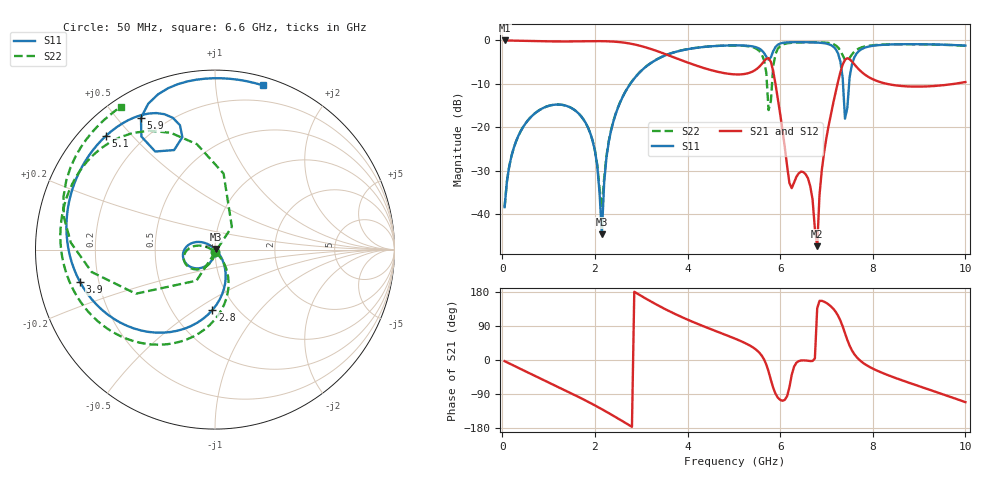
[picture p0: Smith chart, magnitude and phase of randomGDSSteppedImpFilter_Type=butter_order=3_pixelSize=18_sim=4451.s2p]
! freq	dB(S11)	phase(S11)	dB(S12)	phase(S12)
!  dB(S21)	phase(S21)	dB(S22)	phase(S22)
!S-par simulation data
#  GHz  S  DB  R 50
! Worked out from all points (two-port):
!   200 points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, 50 MHz to 10 GHz, reference 50 ohm
!   highest |S21| = -0.01 dB at 50 MHz (marker M1); lowest = -47.3 dB at 6.8 GHz (marker M2)
!   |S21| within 3 dB of the highest: start of sweep to 3.486 GHz
!   lowest |S11| = -44.6 dB at 2.15 GHz (marker M3), VSWR 1.01, Z = 50.5 + j0.305 ohm
!   |S11| at or under -10 dB: start of sweep to 2.764 GHz; 7.358 GHz to 7.489 GHz (131.6 MHz wide, 1.77 % of centre)
!   |S22| runs from -38.6 to -0.4 dB; largest |S21 - S12| = 0
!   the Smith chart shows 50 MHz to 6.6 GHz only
!   S11 on the Smith chart (normalised r, x): 50 MHz: 1.00, -0.02; 2.8 GHz: 0.78, -0.59; 3.9 GHz: 0.13, -0.12; 5.1 GHz: 0.08, +0.43; 5.9 GHz: 0.11, +0.58; 6.6 GHz: 0.07, +1.33
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0.05  -38.34 -92.2  -0.01 -3.0  -0.01 -3.0  -38.36 -92.2
0.6  -17.81 -127.5  -0.12 -35.7  -0.12 -35.7  -17.81 -124.7
1.75  -18.12 161.3  -0.20 -103.8  -0.20 -103.8  -18.12 172.0
2.15  -44.63 30.9  -0.17 -129.8  -0.17 -129.8  -38.64 -114.1
2.3  -23.29 -53.8  -0.21 -140.2  -0.21 -140.2  -23.10 -55.8
2.8  -9.45 -92.4  -0.81 -176.4  -0.81 -176.4  -9.41 -83.9
3.4  -4.01 -135.8  -2.67 141.7  -2.67 141.7  -3.99 -123.1
3.9  -2.23 -166.6  -4.68 111.9  -4.68 111.9  -2.21 -151.1
5.05  -1.13 136.1  -7.82 55.2  -7.82 55.2  -1.15 155.7
5.1  -1.13 133.7  -7.83 52.6  -7.83 52.6  -1.17 153.2
5.75  -4.44 112.3  -4.06 -30.3  -4.06 -30.3  -16.01 53.6
5.9  -1.49 119.3  -10.06 -89.0  -10.06 -89.0  -3.13 -169.6
6.2  -0.42 96.3  -32.80 -72.1  -32.80 -72.1  -0.59 146.3
6.6  -0.42 73.6  -31.70 -2.1  -31.70 -2.1  -0.42 123.4
6.7  -0.44 67.7  -36.58 -2.6  -36.58 -2.6  -0.42 118.6
6.8  -0.49 61.2  -47.32 136.4  -47.32 136.4  -0.42 113.8
6.95  -0.64 49.9  -25.68 153.8  -25.68 153.8  -0.48 106.2
7.35  -8.58 -27.6  -5.56 88.6  -5.56 88.6  -3.44 82.6
7.4  -18.01 -67.4  -4.45 70.7  -4.45 70.7  -4.47 87.2
7.65  -3.02 82.7  -6.09 7.9  -6.09 7.9  -2.16 98.6
8.35  -0.94 30.0  -10.09 -41.0  -10.09 -41.0  -0.91 68.4
10  -1.18 -37.9  -9.57 -111.2  -9.57 -111.2  -1.23 1.5
